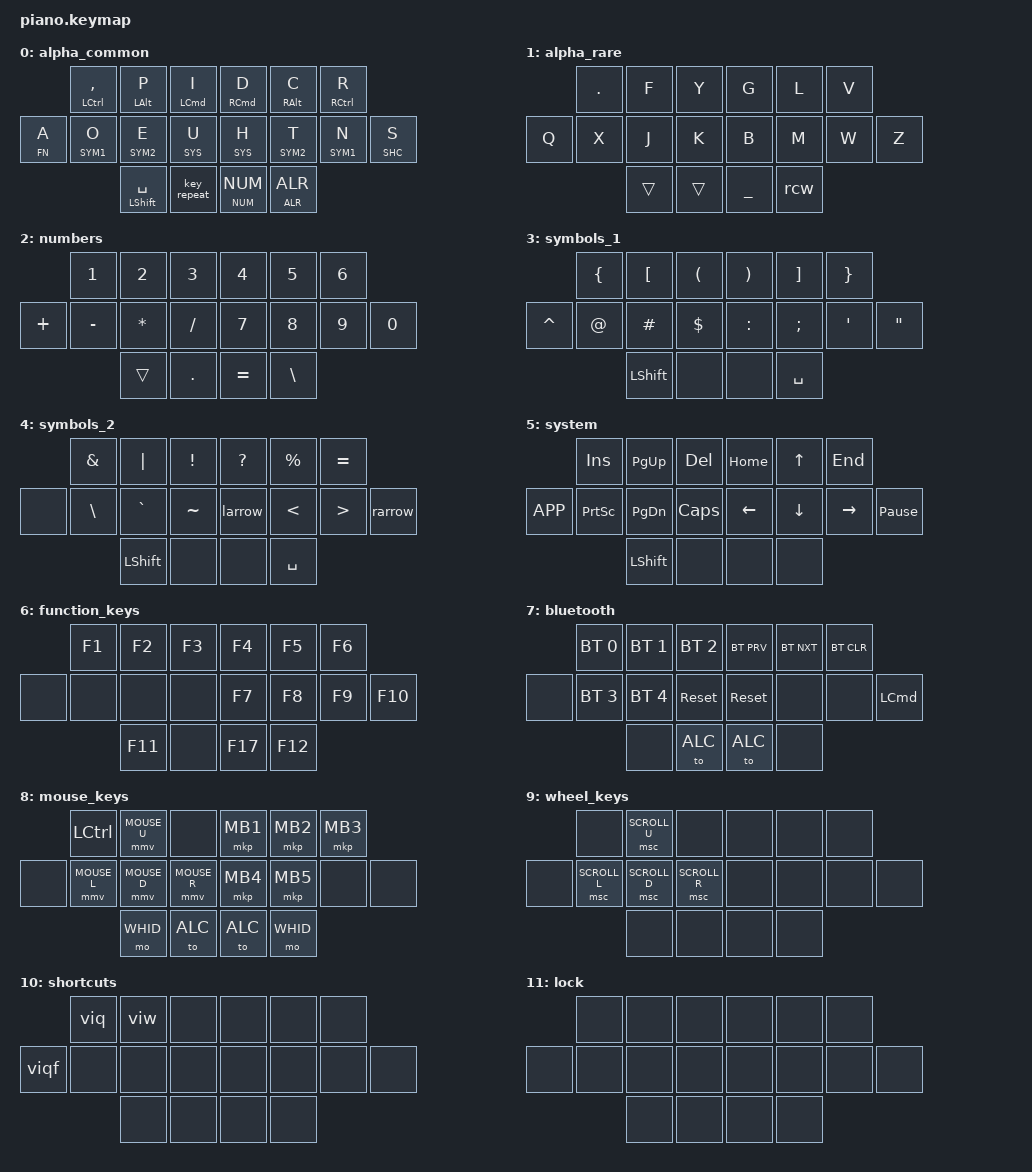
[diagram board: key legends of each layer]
// vim: ft=dts ts=4 sts=4 sw=4 et
#include <behaviors.dtsi>
#include <dt-bindings/zmk/keys.h>
#include <dt-bindings/zmk/bt.h>

&mt {
    tapping-term-ms = <180>;
    quick-tap-ms = <150>;
    require-prior-idle-ms = <100>;
    flavor = "tap-preferred";
};

&sl {
    release-after-ms = <500>;
};

&sk {
    // I types so fast that "&sk LSHFT &kp T &kp H &kp E"
    // becomes "THe" instead of "The".
    quick-release;
};

#define ALC  0
#define ALR  1
#define NUM  2
#define SYM1 3
#define SYM2 4
#define SYS  5
#define FN   6
#define BT   7
#define MHID 8
#define WHID 9
#define SHC  10
#define LCK  11

#include "mouse.dtsi"
#include "dances.dtsi"

#define COMBO_2KEYS 50
#define COMBO_3KEYS (COMBO_2KEYS * 3 / 2)

/ {
    combos {
        compatible = "zmk,combos";

        combo_esc {
            timeout-ms = <COMBO_2KEYS>;
            key-positions = <0 1>;
            bindings = <&kp ESC>;
            layers = <ALC ALR NUM>;
        };

        combo_tab {
            timeout-ms = <COMBO_2KEYS>;
            key-positions = <1 2>;
            bindings = <&kp TAB>;
            layers = <ALC ALR NUM>;
        };

        combo_ctrl_shift {
            timeout-ms = <COMBO_3KEYS>;
            key-positions = <0 1 2>;
            bindings = <&sk LS(LCTRL)>;
            layers = <ALC ALR>;
        };

        combo_del {
            timeout-ms = <COMBO_2KEYS>;
            key-positions = <3 4>;
            bindings = <&kp DEL>;
            layers = <ALC ALR NUM>;
        };

        combo_bspc {
            timeout-ms = <COMBO_2KEYS>;
            key-positions = <4 5>;
            bindings = <&kp BSPC>;
            layers = <ALC ALR NUM>;
        };

        combo_lshft {
            timeout-ms = <COMBO_2KEYS>;
            key-positions = <7 8>;
            bindings = <&sk LSHFT>;
            layers = <ALC ALR>;
        };

        combo_rshft {
            timeout-ms = <COMBO_2KEYS>;
            key-positions = <11 12>;
            bindings = <&sk RSHFT>;
            layers = <ALC ALR>;
        };

        combo_ret {
            timeout-ms = <COMBO_2KEYS>;
            key-positions = <12 13>;
            bindings = <&kp RET>;
            layers = <ALC ALR NUM>;
        };

        combo_bt {
            timeout-ms = <COMBO_3KEYS>;
            key-positions = <10 11 12>;
            bindings = <&to BT>;
            layers = <SYS>;
        };

        combo_mhid {
            timeout-ms = <COMBO_3KEYS>;
            key-positions = <3 4 5>;
            bindings = <&to MHID>;
            layers = <ALC>;
        };

        combo_vix {
            timeout-ms = <COMBO_2KEYS>;
            key-positions = <0 1>;
            bindings = <&vix>;
            layers = <SHC>;
        };

        combo_lock {
            timeout-ms = <COMBO_3KEYS>;
            key-positions = <3 4 5>;
            bindings = <&tog LCK>;
            layers = <SYS LCK>;
        };
    };

    macros {
        larrow: left_arrow {
            compatible = "zmk,behavior-macro";
            label = "LEFT_ARROW";
            #binding-cells = <0>;
            bindings = <&macro_tap &kp LT &kp MINUS>;
        };

        rarrow: right_arrow {
            compatible = "zmk,behavior-macro";
            label = "RIGHT_ARROW";
            #binding-cells = <0>;
            bindings = <&macro_tap &kp MINUS &kp GT>;
        };

        viw: vi_write {
            compatible = "zmk,behavior-macro";
            label = "VI_WRITE";
            #binding-cells = <0>;
            bindings = <&macro_tap &kp ESC &kp COLON &kp W &kp RET>;
        };

        viq: vi_quit {
            compatible = "zmk,behavior-macro";
            label = "VI_QUIT";
            #binding-cells = <0>;
            bindings = <&macro_tap &kp ESC &kp COLON &kp Q &kp RET>;
        };

        viqf: vi_quit_force {
            compatible = "zmk,behavior-macro";
            label = "VI_QUIT_FORCE";
            #binding-cells = <0>;
            bindings = <&macro_tap &kp ESC &kp COLON &kp Q &kp EXCL &kp RET>;
        };

        vix: vi_save_exit {
            compatible = "zmk,behavior-macro";
            label = "VI_SAVE_EXIT";
            #binding-cells = <0>;
            bindings = <&macro_tap &kp ESC &kp COLON &kp X &kp RET>;
        };

        rcw: realeasable_caps_word {
            compatible = "zmk,behavior-macro";
            label = "RELEASEABLE_CAPS_WORD";
            #binding-cells = <0>;
            bindings = <&macro_tap &kp F17 &caps_word>;
        };
    };

    behaviors {
        mk: momentary_keypress {
            compatible = "zmk,behavior-hold-tap";
            label = "MOMENTARY_KEYPRESS";
            #binding-cells = <2>;
            tapping-term-ms = <150>;
            quick-tap-ms = <150>;
            require-prior-idle-ms = <100>;
            flavor = "tap-preferred";
            bindings = <&mo>, <&kp>;
        };

        ms: momentary_stickylayer {
            compatible = "zmk,behavior-hold-tap";
            label = "MOMENTARY_STICKYLAYER";
            #binding-cells = <2>;
            tapping-term-ms = <150>;
            flavor = "balanced";
            bindings = <&mo>, <&sl>;
        };

        sm: slow_modtap {
            compatible = "zmk,behavior-hold-tap";
            label = "SLOW_MODTAP";
            #binding-cells = <2>;
            tapping-term-ms = <250>;
            quick-tap-ms = <250>;
            require-prior-idle-ms = <200>;
            flavor = "tap-preferred";
            bindings = <&kp>, <&kp>;
        };
    };

    keymap {
        compatible = "zmk,keymap";

        alpha_common {
        bindings = <
                &mt LCTRL COMMA &mt LALT  P     &mt LCMD  I     &mt RCMD  D     &mt RALT  C     &mt RCTRL R
&mk FN    A     &mk SYM1  O     &mk SYM2  E     &mk SYS   U     &mk SYS   H     &mk SYM2  T     &mk SYM1  N     &mk SHC   S
                                &sm LSHFT SPACE &key_repeat     &ms NUM   NUM   &ms ALR ALR
        >;
        };

        alpha_rare {
        bindings = <
                &kp DOT         &kp F           &kp Y           &kp G           &kp L           &kp V
&kp Q           &kp X           &kp J           &kp K           &kp B           &kp M           &kp W           &kp Z
                                &trans          &trans          &kp UNDER       &rcw
        >;
        };

        numbers {
        bindings = <
                &kp N1          &kp N2          &kp N3          &kp N4          &kp N5          &kp N6
&kp PLUS        &kp MINUS       &kp STAR        &kp FSLH        &kp N7          &kp N8          &kp N9          &kp N0
                                &trans          &kp DOT         &kp EQUAL       &kp BSLH
        >;
        };

        symbols_1 {
        bindings = <
                &kp LBRC        &kp LBKT        &kp LPAR        &kp RPAR        &kp RBKT        &kp RBRC
&kp CARET       &kp AT          &kp HASH        &kp DLLR        &kp COLON       &kp SEMI        &kp SQT         &kp DQT
                                &kp LSHFT       &none           &none           &kp SPACE
        >;
        };

        symbols_2 {
        bindings = <
                &kp AMPS        &kp PIPE        &kp EXCL        &kp QMARK       &kp PRCNT       &kp EQUAL
&none           &kp BSLH        &kp GRAVE       &kp TILDE       &larrow         &kp LT          &kp GT          &rarrow
                                &kp LSHFT       &none           &none           &kp SPACE
        >;
        };

        system {
        bindings = <
                &kp INS         &kp PG_UP       &kp DEL         &kp HOME        &kp UP          &kp END
&kp K_APP       &kp PSCRN       &kp PG_DN       &kp CAPS        &kp LEFT        &kp DOWN        &kp RIGHT       &kp PAUSE_BREAK
                                &kp LSHFT       &none           &none           &none
        >;
        };

        function_keys {
        bindings = <
                &kp F1          &kp F2          &kp F3          &kp F4          &kp F5          &kp F6
&none           &none           &none           &none           &kp F7          &kp F8          &kp F9          &kp F10
                                &kp F11         &none           &kp F17         &kp F12
        >;
        };

        bluetooth {
        bindings = <
                &bt BT_SEL 0    &bt BT_SEL 1    &bt BT_SEL 2    &bt BT_PRV      &bt BT_NXT      &bt BT_CLR
&none           &bt BT_SEL 3    &bt BT_SEL 4    &sys_reset      &sys_reset      &none           &none           &kp LCMD
                                &none           &to ALC         &to ALC         &none
        >;
        };

        mouse_keys {
        bindings = <
                &kp LCTRL       &mmv MOUSE_U    &none           &mkp MB1        &mkp MB2        &mkp MB3
&none           &mmv MOUSE_L    &mmv MOUSE_D    &mmv MOUSE_R    &mkp MB4        &mkp MB5        &none           &none
                                &mo WHID        &to ALC         &to ALC         &mo WHID
        >;
        };

        wheel_keys {
        bindings = <
                &none           &msc SCROLL_U   &none           &none           &none           &none
&none           &msc SCROLL_L   &msc SCROLL_D   &msc SCROLL_R   &none           &none           &none           &none
                                &none           &none           &none           &none
        >;
        };

        shortcuts {
        bindings = <
                &viq            &viw            &none           &none           &none           &none
&viqf           &none           &none           &none           &none           &none           &none           &none
                                &none           &none           &none           &none
        >;
        };

        lock {
        bindings = <
                &none           &none           &none           &none           &none           &none
&none           &none           &none           &none           &none           &none           &none           &none
                                &none           &none           &none           &none
        >;
        };
    };
};
